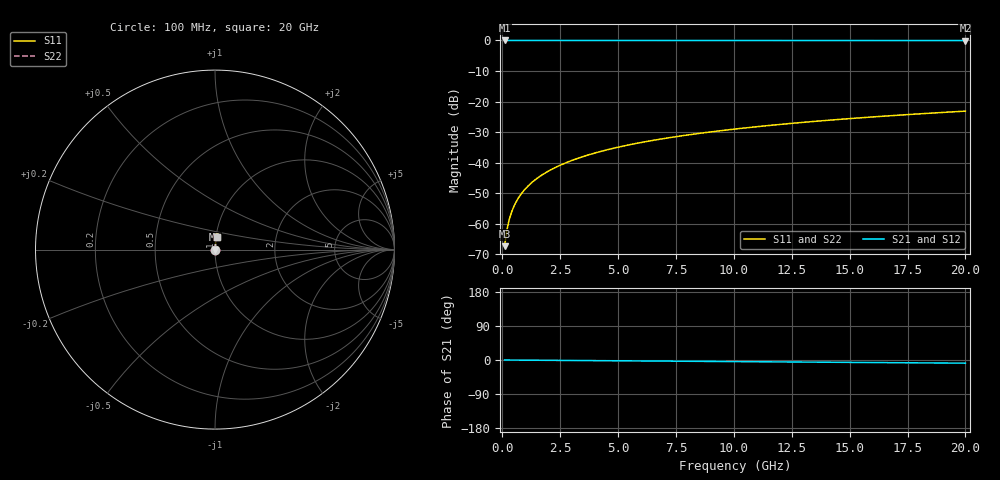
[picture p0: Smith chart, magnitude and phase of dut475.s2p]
! Touchstone file exported from HFSS 2026.1.0
!  File:  C:/ffzhzh/LocalFiles/Ansys_Project_Files/temp_train_TSV_475_1783022419_53980.aedt
!  Generated:  04:02:27 AM Jul  3, 2026
!  Design:  TSV
!  Project:  temp_train_TSV_475_1783022419_53980
! Variables:
!  h_bsmrdl = 2um
!  h_ox = 20um
!  h_rdl = 5um
!  h_sub = 66.15um
!  h_tmrdl = 5um
!  h_tsv = 66.15um
!  h_via = 3um
!  l_bsmrdl = 300um
!  l_sub = 414um
!  l_tmrdl = 200um
!  m_sub = 200um
!  pitch = 57.36um
!  r_tsv = 7um
!  s_tmrdl = 10um
!  w_bsmrdl = 18um
!  w_sub = 500um
!  w_tmrdl = 12um
!  x_tsv_center1 = 206um
!  x_tsv_center2 = 524um
!  x_tsv_center3 = 736um
!  x_tsv_center4 = 1054um
!  x_tsv_center5 = 1266um
!  x_tsv_center6 = 1584um
# GHz S MA R 50.000000
! Terminal data exported
! Port[1] = TSV1_1_T1
! Port[2] = TSV1_1_T2
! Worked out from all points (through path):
!   200 points, 100 MHz to 20 GHz, reference 50 ohm
!   highest |S21| = 0.00 dB at 100 MHz (marker M1); lowest = 0.0 dB at 20 GHz (marker M2)
!   group delay of S21, straight-line fit = 1.16 ps
!   lowest |S11| = -67.3 dB at 100 MHz (marker M3), VSWR 1.00, Z = 50 + j0.0387 ohm
!   |S11| at or under -10 dB: start of sweep to end of sweep
!   |S22| runs from -67.3 to -23.1 dB; largest |S21 - S12| = 2.2e-15
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0.1  0.0004303 64.0  0.9998 -0.0  0.9998 -0.0  0.0004303 64.0
! Gamma 0 0 0 0
! Port Impedance 50 0 50 0
0.2  0.0007967 75.6  0.9998 -0.1  0.9998 -0.1  0.0007967 75.6
0.3  0.001173 79.6  0.9998 -0.1  0.9998 -0.1  0.001173 79.6
0.4  0.001549 81.5  0.9998 -0.2  0.9998 -0.2  0.001549 81.5
0.5  0.001923 82.5  0.9998 -0.2  0.9998 -0.2  0.001923 82.5
0.6  0.002293 83.2  0.9997 -0.3  0.9997 -0.3  0.002293 83.2
0.7  0.00266 83.6  0.9997 -0.3  0.9997 -0.3  0.00266 83.6
0.8  0.003024 84.0  0.9997 -0.3  0.9997 -0.3  0.003024 84.0
1  0.003747 84.5  0.9997 -0.4  0.9997 -0.4  0.003747 84.5
1.4  0.005178 85.1  0.9996 -0.6  0.9996 -0.6  0.005178 85.1
1.7  0.006246 85.4  0.9996 -0.7  0.9996 -0.7  0.006246 85.4
2  0.007313 85.7  0.9995 -0.9  0.9995 -0.9  0.007313 85.7
2.7  0.009798 85.9  0.9994 -1.1  0.9994 -1.1  0.009798 85.9
3.5  0.01263 85.9  0.9993 -1.5  0.9993 -1.5  0.01263 85.9
4.2  0.0151 85.8  0.9993 -1.8  0.9993 -1.8  0.0151 85.8
5  0.01791 85.7  0.9992 -2.1  0.9992 -2.1  0.01791 85.7
6.8  0.02421 85.2  0.9989 -2.9  0.9989 -2.9  0.02421 85.2
8.3  0.02944 84.8  0.9987 -3.5  0.9987 -3.5  0.02944 84.8
10.1  0.0357 84.2  0.9984 -4.2  0.9984 -4.2  0.0357 84.2
13.4  0.04712 83.0  0.9978 -5.6  0.9978 -5.6  0.04712 83.0
16.7  0.05847 81.8  0.997 -7.0  0.997 -7.0  0.05847 81.8
20  0.06974 80.5  0.9962 -8.4  0.9962 -8.4  0.06974 80.5
